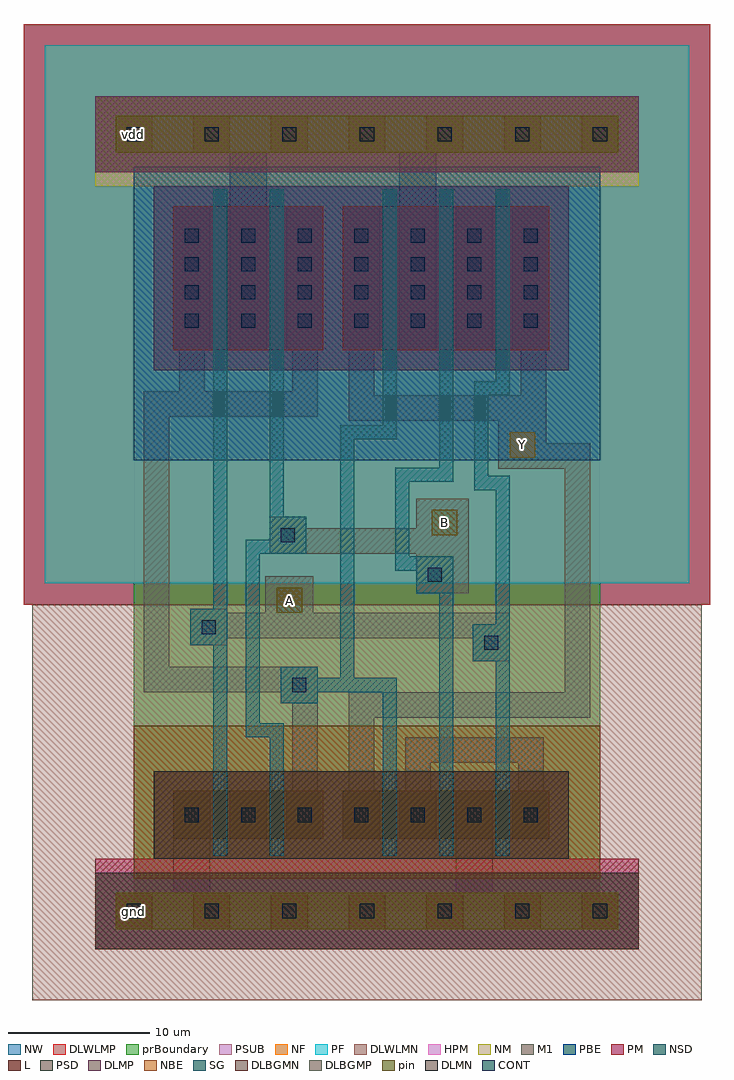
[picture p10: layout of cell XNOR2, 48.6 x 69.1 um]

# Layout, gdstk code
import gdstk
lib = gdstk.Library(unit=1e-6, precision=1e-09)
def R(c, l, rs):  # rectangles x0, y0, x1, y1
    for r in rs: c.add(gdstk.rectangle(r[:2], r[2:], *l))
def A(c, l, x, y, w, h, nx, ny, dx, dy):  # array of equal rectangles
    R(c, l, [(x+i*dx, y+j*dy, x+i*dx+w, y+j*dy+h) for i in range(nx) for j in range(ny)])
def P(c, l, *ps):  # polygons
    for p in ps: c.add(gdstk.Polygon(p, *l))
L = (3, 0)
NM = (7, 0)
SG = (8, 0)
PSD = (9, 0)
CONT = (11, 0)
M1 = (13, 0)
NF = (25, 0)
PF = (26, 0)
NSD = (28, 0)
HPM = (33, 0)
PM = (35, 0)
NW = (36, 0)
pin = (48, 1)
PSUB = (140, 0)
PBE = (146, 0)
NBE = (147, 0)
DLWLMP = (150, 0)
DLWLMN = (151, 0)
DLMP = (157, 0)
DLMN = (158, 0)
DLBGMP = (177, 0)
DLBGMN = (178, 0)
prBoundary = (235, 0)

xnor2 = lib.new_cell('XNOR2')
A(xnor2, L, -1.3, -1.3, 2.6, 2.6, 7, 2, 5.5, 55)
R(xnor2, L, [(2.8,5.1,13.4,8.5), (14.8,5.1,29.4,8.5), (2.8,39.7,13.4,49.9), (14.8,39.7,29.4,49.9)])
R(xnor2, NM, [(-2.75,-2.7,35.75,2.7)])
P(xnor2, NM, [(1.4,38.3),(1.4,51.3),(-2.75,51.3),(-2.75,57.7),(35.75,57.7),(35.75,51.3),(30.8,51.3),(30.8,38.3)])
P(xnor2, SG, [(5.6,3.9),(5.6,18.8),(4,18.8),(4,21.4),(5.6,21.4),(5.6,51.1),(6.6,51.1),(6.6,3.9)],
  [(9.6,3.9),(9.6,12.3),(7.9,12.3),(7.9,26.3),(9.6,26.3),(9.6,51.1),(10.6,51.1),(10.6,27.9),(12.2,27.9),(12.2,25.3),(8.9,25.3),(8.9,13.3),(10.6,13.3),(10.6,3.9)],
  [(17.6,3.9),(17.6,15.5),(13,15.5),(13,14.7),(10.4,14.7),(10.4,17.3),(13,17.3),(13,16.5),(14.6,16.5),(14.6,34.4),(17.6,34.4),(17.6,51.1),(18.6,51.1),(18.6,33.4),(15.6,33.4),(15.6,16.5),(18.6,16.5),(18.6,3.9)],
  [(21.6,3.9),(21.6,22.5),(20,22.5),(20,24.1),(18.5,24.1),(18.5,31.4),(21.6,31.4),(21.6,51.1),(22.6,51.1),(22.6,30.4),(19.5,30.4),(19.5,25.1),(22.6,25.1),(22.6,3.9)],
  [(25.6,3.9),(25.6,17.7),(24,17.7),(24,20.3),(25.6,20.3),(25.6,29.8),(24.1,29.8),(24.1,37.5),(25.6,37.5),(25.6,51.1),(26.6,51.1),(26.6,36.5),(25.1,36.5),(25.1,30.8),(26.6,30.8),(26.6,3.9)])
R(xnor2, PSD, [(1.4,3.7,30.8,9.9), (-2.75,52.3,35.75,57.7)])
A(xnor2, CONT, -0.5, -0.5, 1, 1, 7, 2, 5.5, 55)
A(xnor2, CONT, 7.6, 6.3, 1, 1, 4, 2, 4, 35)
A(xnor2, CONT, 3.6, 41.3, 1, 1, 1, 4, 0, 2)
A(xnor2, CONT, 7.6, 41.3, 1, 1, 1, 4, 0, 2)
A(xnor2, CONT, 19.6, 41.3, 1, 1, 1, 4, 0, 2)
A(xnor2, CONT, 27.6, 41.3, 1, 1, 1, 4, 0, 2)
A(xnor2, CONT, 7.6, 43.3, 1, 1, 4, 3, 4, 2)
R(xnor2, CONT, [(3.6,6.3,4.6,7.3), (7.6,6.3,8.6,7.3), (19.6,6.3,20.6,7.3), (23.6,6.3,24.6,7.3), (23.6,6.3,24.6,7.3), (27.6,6.3,28.6,7.3), (11.2,15.5,12.2,16.5), (24.8,18.5,25.8,19.5), (4.8,19.6,5.8,20.6), (20.8,23.3,21.8,24.3), (10.4,26.1,11.4,27.1), (23.6,41.3,24.6,42.3), (23.6,41.3,24.6,42.3), (23.6,43.3,24.6,44.3), (23.6,43.3,24.6,44.3), (23.6,45.3,24.6,46.3), (23.6,45.3,24.6,46.3), (23.6,47.3,24.6,48.3), (23.6,47.3,24.6,48.3)])
R(xnor2, M1, [(6.8,5.1,9.4,8.5), (22.8,39.7,25.4,49.9)])
P(xnor2, M1, [(-1.3,-1.3),(-1.3,1.3),(2.8,1.3),(2.8,8.5),(5.4,8.5),(5.4,1.3),(22.8,1.3),(22.8,8.5),(25.4,8.5),(25.4,1.3),(34.3,1.3),(34.3,-1.3)],
  [(18.8,5.1),(18.8,8.5),(19.2,8.5),(19.2,12.3),(29,12.3),(29,8.5),(29.4,8.5),(29.4,5.1),(26.8,5.1),(26.8,8.5),(27.2,8.5),(27.2,10.5),(21,10.5),(21,8.5),(21.4,8.5),(21.4,5.1)],
  [(24,17.7),(24,19.3),(6.6,19.3),(6.6,18.8),(4,18.8),(4,21.4),(6.6,21.4),(6.6,21.1),(9.3,21.1),(9.3,23.7),(12.7,23.7),(12.7,21.1),(26.6,21.1),(26.6,17.7)],
  [(20,22.5),(20,25.3),(9.6,25.3),(9.6,27.9),(12.2,27.9),(12.2,27.1),(20,27.1),(20,29.2),(23.7,29.2),(23.7,22.5)],
  [(10.8,5.1),(10.8,8.5),(11.2,8.5),(11.2,14.7),(10.4,14.7),(10.4,15.5),(0.7,15.5),(0.7,36.8),(3.2,36.8),(3.2,39.7),(2.8,39.7),(2.8,49.9),(5.4,49.9),(5.4,39.7),(5,39.7),(5,36.8),(11.2,36.8),(11.2,39.7),(10.8,39.7),(10.8,49.9),(13.4,49.9),(13.4,39.7),(13,39.7),(13,35),(2.5,35),(2.5,17.3),(13,17.3),(13,8.5),(13.4,8.5),(13.4,5.1)],
  [(14.8,5.1),(14.8,8.5),(15.2,8.5),(15.2,15.5),(30.5,15.5),(30.5,31.3),(25.8,31.3),(25.8,34.7),(15.2,34.7),(15.2,39.7),(14.8,39.7),(14.8,49.9),(17.4,49.9),(17.4,39.7),(17,39.7),(17,36.5),(27.4,36.5),(27.4,39.7),(26.8,39.7),(26.8,49.9),(29.4,49.9),(29.4,39.7),(29.2,39.7),(29.2,33.1),(32.3,33.1),(32.3,13.7),(17,13.7),(17,8.5),(17.4,8.5),(17.4,5.1)],
  [(6.8,39.7),(6.8,53.7),(-1.3,53.7),(-1.3,56.3),(34.3,56.3),(34.3,53.7),(21.4,53.7),(21.4,39.7),(18.8,39.7),(18.8,53.7),(9.4,53.7),(9.4,39.7)])
R(xnor2, NF, [(-6.3,23.2,39.3,61.3)])
R(xnor2, PF, [(-6.3,23.2,39.3,61.3)])
R(xnor2, NSD, [(-2.75,-2.7,35.75,2.7), (1.4,38.3,30.8,51.3)])
P(xnor2, HPM, [(-2.75,-2.7),(-2.75,3.7),(1.4,3.7),(1.4,9.9),(30.8,9.9),(30.8,3.7),(35.75,3.7),(35.75,-2.7)],
  [(1.4,38.3),(1.4,51.3),(-2.75,51.3),(-2.75,57.7),(35.75,57.7),(35.75,51.3),(30.8,51.3),(30.8,38.3)])
R(xnor2, PM, [(-2.75,52.3,35.75,57.7)])
P(xnor2, PM, [(-2.75,-2.7),(-2.75,3.7),(1.4,3.7),(1.4,9.9),(30.8,9.9),(30.8,3.7),(35.75,3.7),(35.75,-2.7)])
R(xnor2, NW, [(-7.8,21.7,40.8,62.8)])
R(xnor2, pin, [(-1.3,-1.3,34.3,1.3), (10.1,21.1,11.9,22.9), (21.1,26.6,22.9,28.4), (26.6,32.1,28.4,33.9), (-1.3,53.7,34.3,56.3)])
R(xnor2, PSUB, [(-6.3,23.2,39.3,61.3)])
R(xnor2, PBE, [(0,31.9,33,52.7)])
R(xnor2, NBE, [(0,2.3,33,13.1)])
R(xnor2, DLWLMP, [(-7.8,21.7,40.8,62.8)])
R(xnor2, DLWLMN, [(-7.2,-6.3,40.2,21.7)])
R(xnor2, DLMP, [(1.4,38.3,30.8,51.3)])
R(xnor2, DLMN, [(1.4,3.7,30.8,9.9)])
R(xnor2, DLBGMP, [(-2.75,52.3,35.75,57.7)])
R(xnor2, DLBGMN, [(-2.75,-2.7,35.75,2.7)])
R(xnor2, prBoundary, [(0,0,33,55)])
xnor2.add(gdstk.Label('Y', (27.5,33), layer=48, texttype=0))
xnor2.add(gdstk.Label('A', (11,22), layer=48, texttype=0))
xnor2.add(gdstk.Label('B', (22,27.5), layer=48, texttype=0))
xnor2.add(gdstk.Label('vdd', (0,55), layer=48, texttype=0))
xnor2.add(gdstk.Label('gnd', (0,0), layer=48, texttype=0))

lib.write_gds('XNOR2.gds')
